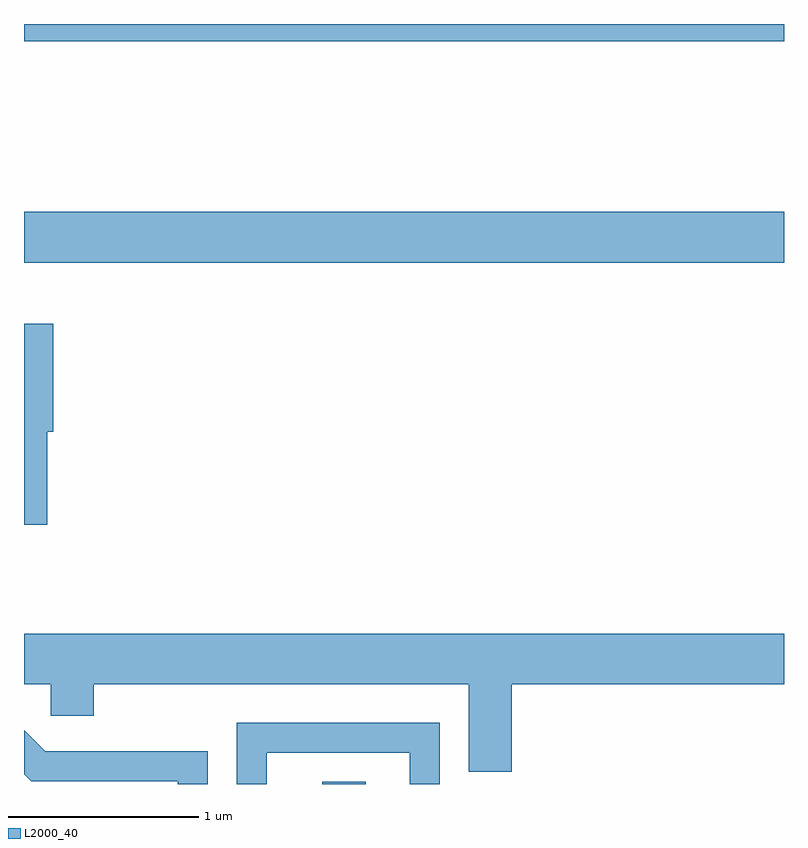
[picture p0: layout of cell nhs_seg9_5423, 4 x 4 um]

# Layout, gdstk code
import gdstk
lib = gdstk.Library(unit=1e-6, precision=1e-09)
def R(c, l, rs):  # rectangles x0, y0, x1, y1
    for r in rs: c.add(gdstk.rectangle(r[:2], r[2:], *l))
def P(c, l, *ps):  # polygons
    for p in ps: c.add(gdstk.Polygon(p, *l))
L2000_40 = (2000, 40)

nhs_seg9_5423 = lib.new_cell('nhs_seg9_5423')
R(nhs_seg9_5423, L2000_40, [(347.181,1962.432,347.409,1962.444), (345.611,1965.176,349.611,1965.444), (345.611,1966.341,349.611,1966.432)])
P(nhs_seg9_5423, L2000_40, [(345.734,1964.286),(345.764,1964.286),(345.764,1964.854),(345.611,1964.854),(345.611,1963.796),(345.734,1963.796)],
  [(348.179,1962.956),(349.611,1962.956),(349.611,1963.224),(345.611,1963.224),(345.611,1962.956),(345.751,1962.956),(345.751,1962.791),(345.979,1962.791),(345.979,1962.956),(347.951,1962.956),(347.951,1962.496),(348.179,1962.496)],
  [(346.889,1962.596),(347.641,1962.596),(347.641,1962.432),(347.799,1962.432),(347.799,1962.754),(346.731,1962.754),(346.731,1962.432),(346.889,1962.432)],
  [(346.579,1962.604),(345.722,1962.604),(345.611,1962.715),(345.611,1962.484),(345.649,1962.446),(346.421,1962.446),(346.421,1962.432),(346.579,1962.432)])

lib.write_gds('nhs_seg9_5423.gds')
